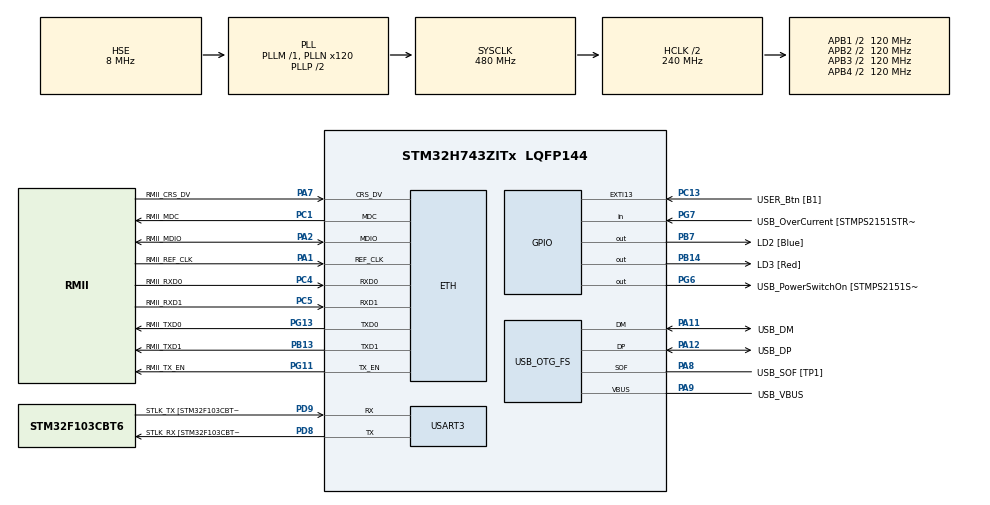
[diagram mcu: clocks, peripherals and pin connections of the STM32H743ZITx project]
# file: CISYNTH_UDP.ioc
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CORTEX_M7.CPU_DCache=Enabled
CORTEX_M7.CPU_ICache=Enabled
ETH.MediaInterface=HAL_ETH_RMII_MODE
ETH.RxBuffLen=1536
LWIP.BSP.number=1
LWIP.CHECKSUM_BY_HARDWARE=1
LWIP.CHECKSUM_GEN_IP=0
LWIP.IP_ADDRESS=192.168.000.010
LWIP.LWIP_DHCP=0
LWIP.LWIP_TCP=0
LWIP.NETMASK_ADDRESS=255.255.255.000
LWIP.Version=v2.0.3_Cube
LWIP0.BSP.STBoard=false
LWIP0.BSP.api=BSP_COMPONENT_DRIVER
LWIP0.BSP.component=LAN8742
LWIP0.BSP.i2caddr=0
LWIP0.BSP.instance=LAN8742
LWIP0.BSP.name=Driver_PHY
LWIP0.BSP.solution=LAN8742
Mcu.Family=STM32H7
Mcu.Name=STM32H743ZITx
Mcu.Package=LQFP144
Mdma.MDMA_Channel0.Request0=SW
Mdma.MDMA_Channel0.RequestsNb=1
Mdma.MDMA_Channel0.SW.0.BlockCount=0
Mdma.MDMA_Channel0.SW.0.BlockDataLength=0
Mdma.MDMA_Channel0.SW.0.BufferTransferLength=1
Mdma.MDMA_Channel0.SW.0.CircularMode=MDMA_LINEAR_LIST
Mdma.MDMA_Channel0.SW.0.DataAlignment=MDMA_DATAALIGN_PACKENABLE
Mdma.MDMA_Channel0.SW.0.DestBlockAddressOffset=0
Mdma.MDMA_Channel0.SW.0.DestBurst=MDMA_DEST_BURST_SINGLE
Mdma.MDMA_Channel0.SW.0.DestDataSize=MDMA_DEST_DATASIZE_BYTE
Mdma.MDMA_Channel0.SW.0.DestinationInc=MDMA_DEST_INC_BYTE
Mdma.MDMA_Channel0.SW.0.DstAddress=0
Mdma.MDMA_Channel0.SW.0.Endianness=MDMA_LITTLE_ENDIANNESS_PRESERVE
Mdma.MDMA_Channel0.SW.0.Instance=MDMA_Channel0
Mdma.MDMA_Channel0.SW.0.MaskAddress=0
Mdma.MDMA_Channel0.SW.0.MaskData=0
Mdma.MDMA_Channel0.SW.0.Priority=MDMA_PRIORITY_LOW
Mdma.MDMA_Channel0.SW.0.Rank=First
Mdma.MDMA_Channel0.SW.0.SourceBlockAddressOffset=0
Mdma.MDMA_Channel0.SW.0.SourceBurst=MDMA_SOURCE_BURST_SINGLE
Mdma.MDMA_Channel0.SW.0.SourceDataSize=MDMA_SRC_DATASIZE_BYTE
Mdma.MDMA_Channel0.SW.0.SourceInc=MDMA_SRC_INC_BYTE
Mdma.MDMA_Channel0.SW.0.SrcAddress=0
Mdma.MDMA_Channel0.SW.0.TransferTriggerMode=MDMA_BUFFER_TRANSFER
Mdma.RequestSet0=MDMA_Channel0
Mdma.RequestSetsNb=1
NVIC.ETH_IRQn=true\:0\:0\:false\:false\:true\:true\:true
NVIC.ETH_WKUP_IRQn=true\:0\:0\:false\:false\:true\:true\:true
NVIC.EXTI15_10_IRQn=true\:0\:0\:false\:false\:true\:true\:true
NVIC.PriorityGroup=NVIC_PRIORITYGROUP_4
PA1.GPIO_Label=RMII_REF_CLK
PA1.Mode=RMII
PA1.Signal=ETH_REF_CLK
PA10.GPIO_Label=USB_ID
PA10.Signal=USB_OTG_FS_ID
PA11.GPIO_Label=USB_DM
PA11.Mode=Device_Only
PA11.Signal=USB_OTG_FS_DM
PA12.GPIO_Label=USB_DP
PA12.Mode=Device_Only
PA12.Signal=USB_OTG_FS_DP
PA13\ (JTMS/SWDIO).Mode=Serial_Wire
PA13\ (JTMS/SWDIO).Signal=DEBUG_JTMS-SWDIO
PA14\ (JTCK/SWCLK).Mode=Serial_Wire
PA14\ (JTCK/SWCLK).Signal=DEBUG_JTCK-SWCLK
PA2.GPIO_Label=RMII_MDIO
PA2.Mode=RMII
PA2.Signal=ETH_MDIO
PA7.GPIO_Label=RMII_CRS_DV
PA7.Mode=RMII
PA7.Signal=ETH_CRS_DV
PA8.GPIO_Label=USB_SOF [TP1]
PA8.Mode=Activate_SOF_FS
PA8.Signal=USB_OTG_FS_SOF
PA9.GPIO_Label=USB_VBUS
PA9.Mode=Activate_VBUS
PA9.Signal=USB_OTG_FS_VBUS
PB13.GPIO_Label=RMII_TXD1
PB13.Mode=RMII
PB13.Signal=ETH_TXD1
PB14.GPIO_Label=LD3 [Red]
PB14.Signal=GPIO_Output
PB7.GPIO_Label=LD2 [Blue]
PB7.Signal=GPIO_Output
PC1.GPIO_Label=RMII_MDC
PC1.Mode=RMII
PC1.Signal=ETH_MDC
PC13.GPIO_Label=USER_Btn [B1]
PC13.Signal=GPXTI13
PC14-OSC32_IN\ (OSC32_IN).Mode=LSE-External-Oscillator
PC14-OSC32_IN\ (OSC32_IN).Signal=RCC_OSC32_IN
PC15-OSC32_OUT\ (OSC32_OUT).Mode=LSE-External-Oscillator
PC15-OSC32_OUT\ (OSC32_OUT).Signal=RCC_OSC32_OUT
PC4.GPIO_Label=RMII_RXD0
PC4.Mode=RMII
PC4.Signal=ETH_RXD0
PC5.GPIO_Label=RMII_RXD1
PC5.Mode=RMII
PC5.Signal=ETH_RXD1
PD8.GPIO_Label=STLK_RX [STM32F103CBT6_PA3]
PD8.Mode=Asynchronous
PD8.Signal=USART3_TX
PD9.GPIO_Label=STLK_TX [STM32F103CBT6_PA2]
PD9.Mode=Asynchronous
PD9.Signal=USART3_RX
PG11.GPIO_Label=RMII_TX_EN
PG11.Mode=RMII
PG11.Signal=ETH_TX_EN
PG13.GPIO_Label=RMII_TXD0
PG13.Mode=RMII
PG13.Signal=ETH_TXD0
PG6.GPIO_Label=USB_PowerSwitchOn [STMPS2151STR_EN]
PG6.Signal=GPIO_Output
PG7.GPIO_Label=USB_OverCurrent [STMPS2151STR_FAULT]
PG7.Signal=GPIO_Input
PH0-OSC_IN\ (PH0).GPIO_Label=MCO
PH0-OSC_IN\ (PH0).Mode=HSE-External-Clock-Source
PH0-OSC_IN\ (PH0).Signal=RCC_OSC_IN
PH1-OSC_OUT\ (PH1).Mode=HSE-External-Clock-Source
PH1-OSC_OUT\ (PH1).Signal=RCC_OSC_OUT
ProjectManager.HeapSize=0x200
ProjectManager.StackSize=0x400
ProjectManager.TargetToolchain=STM32CubeIDE
RCC.48MHZClocksFreq_Value=24000000
RCC.ADCFreq_Value=16125000
RCC.AHBFreq_Value=216000000
RCC.APB1CLKDivider=RCC_HCLK_DIV4
RCC.APB1Freq_Value=120000000
RCC.APB1TimFreq_Value=108000000
RCC.APB2CLKDivider=RCC_HCLK_DIV2
RCC.APB2Freq_Value=120000000
RCC.APB2TimFreq_Value=216000000
RCC.APB3Freq_Value=120000000
RCC.APB4Freq_Value=120000000
RCC.CortexFreq_Value=480000000
RCC.D1PPRE=RCC_APB3_DIV2
RCC.D2PPRE1=RCC_APB1_DIV2
RCC.D2PPRE2=RCC_APB2_DIV2
RCC.D3PPRE=RCC_APB4_DIV2
RCC.DIVM1=1
RCC.DIVN1=120
RCC.DIVQ1=20
RCC.HCLKFreq_Value=240000000
RCC.HPRE=RCC_HCLK_DIV2
RCC.HSE_VALUE=8000000
RCC.HSI_VALUE=64000000
RCC.PLLFRACN=0
RCC.PLLM=25
RCC.PLLMUL=RCC_PLL_MUL9
RCC.PLLN=432
RCC.PLLQ=9
RCC.PRESCALERUSB=RCC_USBCLKSOURCE_PLL_DIV1_5
RCC.PWR_Regulator_Voltage_Scale=PWR_REGULATOR_VOLTAGE_SCALE0
RCC.SYSCLKFreq_VALUE=480000000
RCC.SYSCLKSource=RCC_SYSCLKSOURCE_PLLCLK
RCC.SYSCLKSourceVirtual=RCC_SYSCLKSOURCE_PLLCLK
RCC.USBFreq_Value=48000000
RCC.VCOOutputFreq_Value=432000000
USART3.VirtualMode-Asynchronous=VM_ASYNC
USB_OTG_FS.VirtualMode=Device_Only
VP_LWIP_VS_Enabled.Mode=Enabled
board=NUCLEO-H743ZI

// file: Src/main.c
/* USER CODE BEGIN Header */
/**
 ******************************************************************************
 * @file           : main.c
 * @brief          : Main program body
 ******************************************************************************
 * @attention
 *
 * <h2><center>&copy; Copyright (c) 2019 STMicroelectronics.
 * All rights reserved.</center></h2>
 *
 * This software component is licensed by ST under Ultimate Liberty license
 * SLA0044, the "License"; You may not use this file except in compliance with
 * the License. You may obtain a copy of the License at:
 *                             www.st.com/SLA0044
 *
 ******************************************************************************
 */
/* USER CODE END Header */

#include "main.h"
#include "lwip.h"
#include "mdma.h"
#include "usart.h"
#include "usb_otg.h"
#include "gpio.h"

/* USER CODE BEGIN Includes */
#include "app_ethernet.h"
#include "udp_echoclient.h"
#include "stm32h7xx_nucleo_144.h"
#include <stdio.h>
#include <string.h>
/* USER CODE END Includes */

/* USER CODE BEGIN PV */
struct netif gnetif;
/* USER CODE END PV */

void SystemClock_Config(void);
/* USER CODE BEGIN PFP */
static void Netif_Config(void);
static void BSP_Config(void);
static void MPU_Config(void);
#ifdef __GNUC__
/* With GCC/RAISONANCE, small printf (option LD Linker->Libraries->Small printf
   set to 'Yes') calls __io_putchar() */
#define PUTCHAR_PROTOTYPE int __io_putchar(int ch)
#else
#define PUTCHAR_PROTOTYPE int fputc(int ch, FILE *f)
#endif /* __GNUC__ */
/* USER CODE END PFP */

int main(void)
{
  /* USER CODE BEGIN 1 */
  /* Configure the MPU attributes as Device memory for ETH DMA descriptors */
  MPU_Config();
  /* USER CODE END 1 */

  /* Enable I-Cache---------------------------------------------------------*/
  SCB_EnableICache();

  /* Enable D-Cache---------------------------------------------------------*/
  SCB_EnableDCache();

  /* MCU Configuration--------------------------------------------------------*/

  /* Reset of all peripherals, Initializes the Flash interface and the Systick. */
  HAL_Init();

  /* Configure the system clock */
  SystemClock_Config();

  /* Initialize all configured peripherals */
  MX_GPIO_Init();
//  MX_MDMA_Init();
  MX_USART3_UART_Init();
//  MX_USB_OTG_FS_PCD_Init();
  MX_LWIP_Init();
  /* USER CODE BEGIN 2 */
	BSP_Config();
	/* Configure the Network interface */
	Netif_Config();

	/* UDP client connect */
	udp_echoclient_connect();
	printf("Start UDP echo client\n");
  /* USER CODE END 2 */

  /* Infinite loop */
  /* USER CODE BEGIN WHILE */
	uint16_t   data[5000+1] = {0};
	while (1)
	{
		  for (uint16_t i = 5000; i > 0; i--)
		  {
			  data[i] = i * 6;
		  }

		  udp_send_buff((uint8_t*)data, 5000*2);

		  HAL_Delay(1000);

		/* Read a received packet from the Ethernet buffers and send it
	       to the lwIP for handling */
		ethernetif_input(&gnetif);

		/* Handle timeouts */
		sys_check_timeouts();

#if LWIP_NETIF_LINK_CALLBACK
		Ethernet_Link_Periodic_Handle(&gnetif);
#endif

#if LWIP_DHCP
		DHCP_Periodic_Handle(&gnetif);
#endif
    /* USER CODE END WHILE */

	}
}

void SystemClock_Config(void)
{
  RCC_OscInitTypeDef RCC_OscInitStruct = {0};
  RCC_ClkInitTypeDef RCC_ClkInitStruct = {0};
  RCC_PeriphCLKInitTypeDef PeriphClkInitStruct = {0};

  /** Supply configuration update enable
  */
  HAL_PWREx_ConfigSupply(PWR_LDO_SUPPLY);
  /** Configure the main internal regulator output voltage
  */
  __HAL_PWR_VOLTAGESCALING_CONFIG(PWR_REGULATOR_VOLTAGE_SCALE0);

  while(!__HAL_PWR_GET_FLAG(PWR_FLAG_VOSRDY)) {}
  /** Initializes the CPU, AHB and APB busses clocks
  */
  RCC_OscInitStruct.OscillatorType = RCC_OSCILLATORTYPE_HSE;
  RCC_OscInitStruct.HSEState = RCC_HSE_BYPASS;
  RCC_OscInitStruct.PLL.PLLState = RCC_PLL_ON;
  RCC_OscInitStruct.PLL.PLLSource = RCC_PLLSOURCE_HSE;
  RCC_OscInitStruct.PLL.PLLM = 1;
  RCC_OscInitStruct.PLL.PLLN = 120;
  RCC_OscInitStruct.PLL.PLLP = 2;
  RCC_OscInitStruct.PLL.PLLQ = 20;
  RCC_OscInitStruct.PLL.PLLR = 2;
  RCC_OscInitStruct.PLL.PLLRGE = RCC_PLL1VCIRANGE_3;
  RCC_OscInitStruct.PLL.PLLVCOSEL = RCC_PLL1VCOWIDE;
  RCC_OscInitStruct.PLL.PLLFRACN = 0;
  if (HAL_RCC_OscConfig(&RCC_OscInitStruct) != HAL_OK)
  {
    Error_Handler();
  }
  /** Initializes the CPU, AHB and APB busses clocks
  */
  RCC_ClkInitStruct.ClockType = RCC_CLOCKTYPE_HCLK|RCC_CLOCKTYPE_SYSCLK
                              |RCC_CLOCKTYPE_PCLK1|RCC_CLOCKTYPE_PCLK2
                              |RCC_CLOCKTYPE_D3PCLK1|RCC_CLOCKTYPE_D1PCLK1;
  RCC_ClkInitStruct.SYSCLKSource = RCC_SYSCLKSOURCE_PLLCLK;
  RCC_ClkInitStruct.SYSCLKDivider = RCC_SYSCLK_DIV1;
  RCC_ClkInitStruct.AHBCLKDivider = RCC_HCLK_DIV2;
  RCC_ClkInitStruct.APB3CLKDivider = RCC_APB3_DIV2;
  RCC_ClkInitStruct.APB1CLKDivider = RCC_APB1_DIV2;
  RCC_ClkInitStruct.APB2CLKDivider = RCC_APB2_DIV2;
  RCC_ClkInitStruct.APB4CLKDivider = RCC_APB4_DIV2;

  if (HAL_RCC_ClockConfig(&RCC_ClkInitStruct, FLASH_LATENCY_4) != HAL_OK)
  {
    Error_Handler();
  }
  PeriphClkInitStruct.PeriphClockSelection = RCC_PERIPHCLK_USART3|RCC_PERIPHCLK_USB;
  PeriphClkInitStruct.Usart234578ClockSelection = RCC_USART234578CLKSOURCE_D2PCLK1;
  PeriphClkInitStruct.UsbClockSelection = RCC_USBCLKSOURCE_PLL;
  if (HAL_RCCEx_PeriphCLKConfig(&PeriphClkInitStruct) != HAL_OK)
  {
    Error_Handler();
  }
  /** Enable USB Voltage detector
  */
  HAL_PWREx_EnableUSBVoltageDetector();
}

/* USER CODE BEGIN 4 */
/**
  * @brief  Retargets the C library printf function to the USART.
  * @param  None
  * @retval None
  */
PUTCHAR_PROTOTYPE
{
  /* Place your implementation of fputc here */
  /* e.g. write a character to the USART1 and Loop until the end of transmission */
  HAL_UART_Transmit(&huart3, (uint8_t *)&ch, 1, 0xFFFF);

  return ch;
}

static void BSP_Config(void)
{
  BSP_PB_Init(BUTTON_KEY, BUTTON_MODE_EXTI);

#ifdef USE_LCD

  /* Initialize the LCD */
  BSP_LCD_Init();

  BSP_LCD_LayerDefaultInit(0, LCD_FB_START_ADDRESS);

  /* Initialize LCD Log module */
  LCD_LOG_Init();

  /* Show Header and Footer texts */
  LCD_LOG_SetHeader((uint8_t *)"UDP Echo Client");
  LCD_LOG_SetFooter((uint8_t *)"STM32H743I-EVAL board");

  LCD_UsrLog("  State: Ethernet Initialization ...\n");

#else
  BSP_LED_Init(LED1);
  BSP_LED_Init(LED2);
#endif
}

/**
  * @brief EXTI line detection callbacks
  * @param  GPIO_Pin: Specifies the pins connected EXTI line
  * @retval None
  */
void HAL_GPIO_EXTI_Callback(uint16_t GPIO_Pin)
{

  if (GPIO_Pin == KEY_BUTTON_PIN)
  {
     /* send udp echo */
     udp_echoclient_send();
  }
}

/**
 * @brief  Setup the network interface
 * @param  None
 * @retval None
 */
static void Netif_Config(void)
{
	ip_addr_t ipaddr;
	ip_addr_t netmask;
	ip_addr_t gw;

#if LWIP_DHCP
	ip_addr_set_zero_ip4(&ipaddr);
	ip_addr_set_zero_ip4(&netmask);
	ip_addr_set_zero_ip4(&gw);
#else

	/* IP address default setting */
	IP4_ADDR(&ipaddr, IP_ADDR0, IP_ADDR1, IP_ADDR2, IP_ADDR3);
	IP4_ADDR(&netmask, NETMASK_ADDR0, NETMASK_ADDR1 , NETMASK_ADDR2, NETMASK_ADDR3);
	IP4_ADDR(&gw, GW_ADDR0, GW_ADDR1, GW_ADDR2, GW_ADDR3);

#endif

	/* add the network interface */
	netif_add(&gnetif, &ipaddr, &netmask, &gw, NULL, &ethernetif_init, &ethernet_input);

	/*  Registers the default network interface */
	netif_set_default(&gnetif);

	ethernet_link_status_updated(&gnetif);

#if LWIP_NETIF_LINK_CALLBACK
	netif_set_link_callback(&gnetif, ethernet_link_status_updated);
#endif
}

/**
  * @brief  Configure the MPU attributes
  * @param  None
  * @retval None
  */
static void MPU_Config(void)
{
  MPU_Region_InitTypeDef MPU_InitStruct;

  /* Disable the MPU */
  HAL_MPU_Disable();

  /* Configure the MPU attributes as Device not cacheable
     for ETH DMA descriptors */
  MPU_InitStruct.Enable = MPU_REGION_ENABLE;
  MPU_InitStruct.BaseAddress = 0x30040000;
  MPU_InitStruct.Size = MPU_REGION_SIZE_256B;
  MPU_InitStruct.AccessPermission = MPU_REGION_FULL_ACCESS;
  MPU_InitStruct.IsBufferable = MPU_ACCESS_BUFFERABLE;
  MPU_InitStruct.IsCacheable = MPU_ACCESS_NOT_CACHEABLE;
  MPU_InitStruct.IsShareable = MPU_ACCESS_NOT_SHAREABLE;
  MPU_InitStruct.Number = MPU_REGION_NUMBER0;
  MPU_InitStruct.TypeExtField = MPU_TEX_LEVEL0;
  MPU_InitStruct.SubRegionDisable = 0x00;
  MPU_InitStruct.DisableExec = MPU_INSTRUCTION_ACCESS_ENABLE;

  HAL_MPU_ConfigRegion(&MPU_InitStruct);

  /* Configure the MPU attributes as Normal Non Cacheable
     for LwIP RAM heap which contains the Tx buffers */
  MPU_InitStruct.Enable = MPU_REGION_ENABLE;
  MPU_InitStruct.BaseAddress = 0x30044000;
  MPU_InitStruct.Size = MPU_REGION_SIZE_16KB;
  MPU_InitStruct.AccessPermission = MPU_REGION_FULL_ACCESS;
  MPU_InitStruct.IsBufferable = MPU_ACCESS_NOT_BUFFERABLE;
  MPU_InitStruct.IsCacheable = MPU_ACCESS_NOT_CACHEABLE;
  MPU_InitStruct.IsShareable = MPU_ACCESS_SHAREABLE;
  MPU_InitStruct.Number = MPU_REGION_NUMBER1;
  MPU_InitStruct.TypeExtField = MPU_TEX_LEVEL1;
  MPU_InitStruct.SubRegionDisable = 0x00;
  MPU_InitStruct.DisableExec = MPU_INSTRUCTION_ACCESS_ENABLE;

  HAL_MPU_ConfigRegion(&MPU_InitStruct);

#ifdef USE_LCD
  /* Configure the MPU attributes as WT for SDRAM */
  MPU_InitStruct.Enable = MPU_REGION_ENABLE;
  MPU_InitStruct.BaseAddress = SDRAM_DEVICE_ADDR;
  MPU_InitStruct.Size = MPU_REGION_SIZE_32MB;
  MPU_InitStruct.AccessPermission = MPU_REGION_FULL_ACCESS;
  MPU_InitStruct.IsBufferable = MPU_ACCESS_NOT_BUFFERABLE;
  MPU_InitStruct.IsCacheable = MPU_ACCESS_CACHEABLE;
  MPU_InitStruct.IsShareable = MPU_ACCESS_NOT_SHAREABLE;
  MPU_InitStruct.Number = MPU_REGION_NUMBER2;
  MPU_InitStruct.TypeExtField = MPU_TEX_LEVEL0;
  MPU_InitStruct.SubRegionDisable = 0x00;
  MPU_InitStruct.DisableExec = MPU_INSTRUCTION_ACCESS_ENABLE;

  HAL_MPU_ConfigRegion(&MPU_InitStruct);
#endif

  /* Enable the MPU */
  HAL_MPU_Enable(MPU_PRIVILEGED_DEFAULT);
}

/* USER CODE END 4 */

void Error_Handler(void)
{
}

/************************ (C) COPYRIGHT STMicroelectronics *****END OF FILE****/
